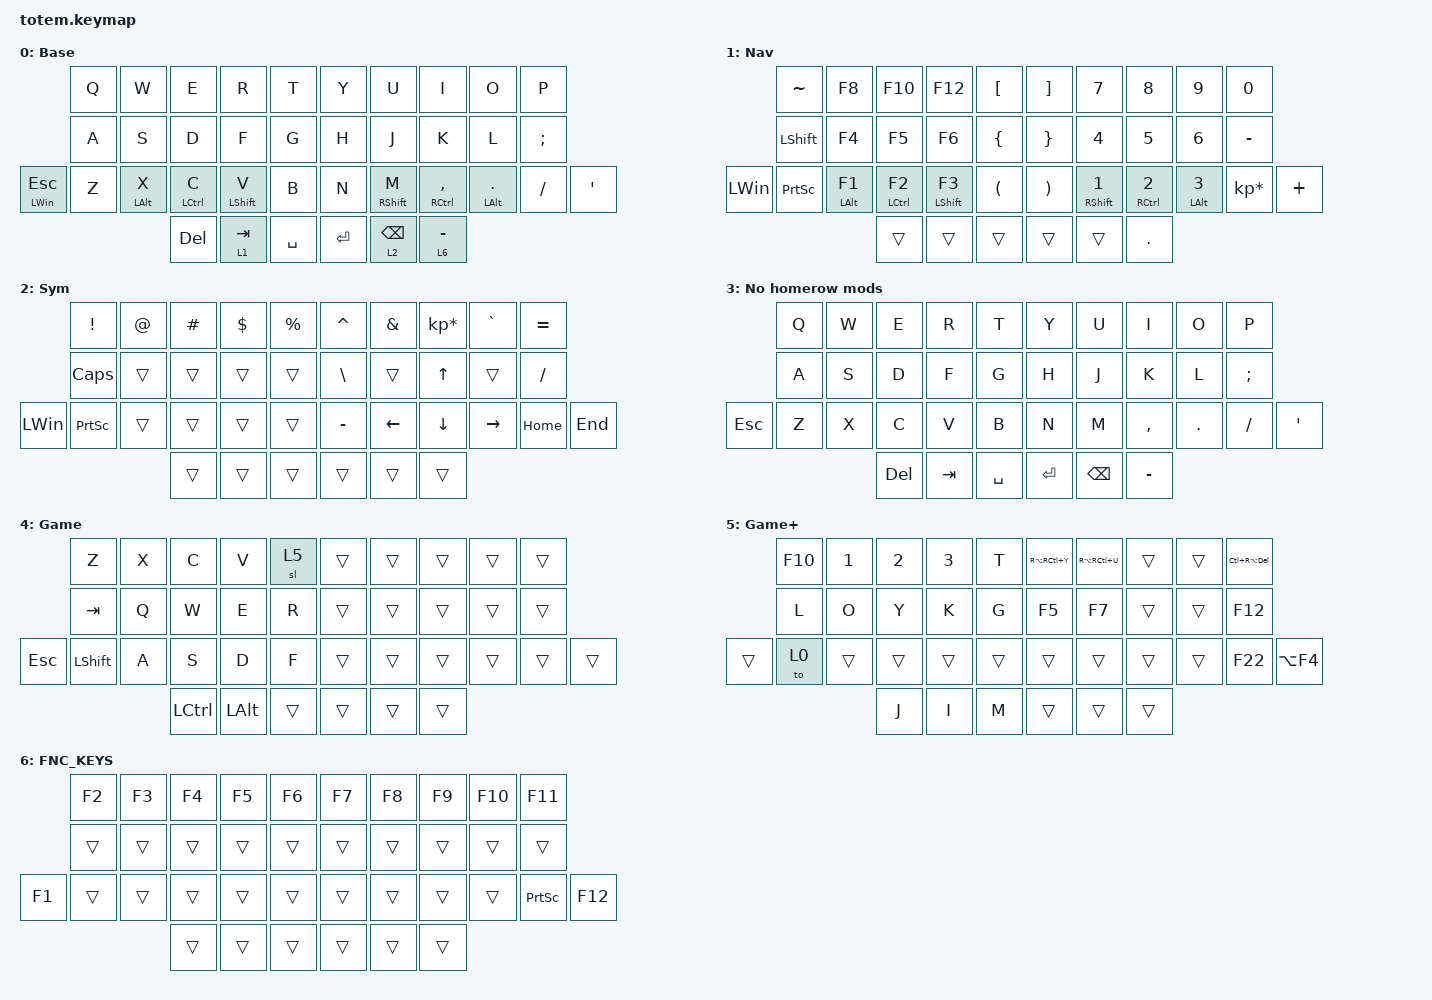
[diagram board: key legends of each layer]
//
//                                                        ▀▀▀▀▀     ▀▀▀▀▀          ▀▀█▀▀
//                                                        ▄▀▀▀▄  ▄  ▄▀▀▀▄  ▄  ▄▀▀▀▄  █  ▄▀▀▀▄
//                                                        █   █  █  █   █  █  █   █  █  █   █
//                                                         ▀▀▀   █   ▀▀▀   █   ▀▀▀   ▀   ▀▀▀
//                                                               █      ▄▄▄█▄▄▄    █   █  
//                                                               ▀      █  █  █     █▄█
//                                                             ▀▀▀▀▀    █  █  █      ▀
//                                                                      ▀  ▀  ▀
//
// ▄▄▄▄▄▄▄▄▄▄▄▄▄▄▄▄▄▄▄▄▄▄▄▄▄▄▄▄▄▄▄▄▄▄▄▄▄▄▄▄▄▄▄▄▄▄▄▄▄▄▄▄▄▄▄▄▄▄▄▄▄▄▄▄▄▄▄▄▄▄▄▄▄▄▄▄▄▄▄▄▄▄▄▄▄▄▄▄▄▄▄▄▄▄▄▄▄▄▄▄▄▄▄▄▄▄▄▄▄▄▄▄▄▄▄▄▄▄▄▄▄▄▄▄▄▄▄▄▄▄▄▄▄▄▄▄▄▄▄▄▄▄▄▄▄▄▄▄▄

#include <behaviors.dtsi>
#include <dt-bindings/zmk/keys.h>

#define Base        0
#define Nav         1
#define Sym         2
#define Fun         3
#define Game        4
#define Gameplus    5

&mt {
    quick-tap-ms = <100>;
    global-quick-tap;
    flavor = "tap-preferred";
    tapping-term-ms = <170>;
};

&lt {
    tapping-term-ms = <240>;
    flavor = "balanced";
    quick-tap-ms = <150>;
};

/ {
    behaviors {
        hm: homerow_mods {
            compatible = "zmk,behavior-hold-tap";
            label = "HOMEROW_MODS";
            #binding-cells = <2>;
            flavor = "tap-preferred";
            tapping-term-ms = <200>;
            quick-tap-ms = <125>;
            global-quick-tap;
            bindings = <&kp>, <&kp>;
        };
    };

    combos {
        compatible = "zmk,combos";

        no_hrm_toggle {
            bindings = <&to 3>;
            key-positions = <32 33 34>;
            layers = <0>;
        };

        base_toggle {
            bindings = <&to 0>;
            key-positions = <37 36 35>;
            layers = <3>;
        };
    };

    macros {
        mac_screenshot: screenshot {
            compatible = "zmk,behavior-macro";
            #binding-cells = <0>;
            bindings = <&kp LG(LS(LC(NUMBER_4)))>;
            label = "SCREENSHOT";
        };
    };

    keymap {
        compatible = "zmk,keymap";

        Base {
            display-name = "Base";
            bindings = <
                     &kp Q  &kp W       &kp E        &kp R        &kp T        &kp Y    &kp U        &kp I            &kp O             &kp P
                     &kp A  &kp S       &kp D        &kp F        &kp G        &kp H    &kp J        &kp K            &kp L             &kp SEMI
&hm LEFT_WIN ESCAPE  &kp Z  &hm LALT X  &hm LCTRL C  &hm LSHFT V  &kp B        &kp N    &hm RSHFT M  &hm RCTRL COMMA  &hm LEFT_ALT DOT  &kp SLASH  &kp APOSTROPHE
                                        &kp DEL      &lt 1 TAB    &kp SPACE    &kp RET  &lt 2 BSPC   &lt 6 MINUS
            >;
        };

        Nav {
            display-name = "Nav";
            bindings = <
              &kp TILDE        &kp F8           &kp F10              &kp F12            &kp LEFT_BRACKET    &kp RIGHT_BRACKET  &kp NUMBER_7              &kp NUMBER_8                &kp NUMBER_9           &kp NUMBER_0
              &kp LEFT_SHIFT   &kp F4           &kp F5               &kp F6             &kp LEFT_BRACE      &kp RIGHT_BRACE    &kp NUMBER_4              &kp NUMBER_5                &kp NUMBER_6           &kp MINUS
&kp LEFT_WIN  &kp PRINTSCREEN  &hm LEFT_ALT F1  &hm LEFT_CONTROL F2  &hm LEFT_SHIFT F3  &kp LPAR            &kp RPAR           &hm RIGHT_SHIFT NUMBER_1  &hm RIGHT_CONTROL NUMBER_2  &hm LEFT_ALT NUMBER_3  &kp KP_MULTIPLY  &kp PLUS
                                                &trans               &trans             &trans              &trans             &trans                    &kp DOT
            >;
        };

        Sym {
            display-name = "Sym";
            bindings = <
              &kp EXCL         &kp AT  &kp HASH  &kp DOLLAR  &kp PERCENT    &kp CARET      &kp AMPERSAND  &kp KP_ASTERISK  &kp GRAVE  &kp EQUAL
              &kp CAPS         &trans  &trans    &trans      &trans         &kp BACKSLASH  &trans         &kp UP_ARROW     &trans     &kp SLASH
&kp LEFT_WIN  &kp PRINTSCREEN  &trans  &trans    &trans      &trans         &kp MINUS      &kp LEFT       &kp DOWN_ARROW   &kp RIGHT  &kp HOME   &kp END
                                       &trans    &trans      &trans         &trans         &trans         &trans
            >;
        };

        no_hrm {
            display-name = "No homerow mods";
            bindings = <
         &kp Q  &kp W  &kp E    &kp R    &kp T        &kp Y      &kp U          &kp I      &kp O       &kp P
         &kp A  &kp S  &kp D    &kp F    &kp G        &kp H      &kp J          &kp K      &kp L       &kp SEMICOLON
&kp ESC  &kp Z  &kp X  &kp C    &kp V    &kp B        &kp N      &kp M          &kp COMMA  &kp PERIOD  &kp SLASH      &kp SQT
                       &kp DEL  &kp TAB  &kp SPACE    &kp ENTER  &kp BACKSPACE  &kp MINUS
            >;
        };

        Gaming {
            display-name = "Game";
            bindings = <
            &kp Z           &kp X  &kp C      &kp V         &sl 5     &trans  &trans  &trans  &trans  &trans
            &kp TAB         &kp Q  &kp W      &kp E         &kp R     &trans  &trans  &trans  &trans  &trans
&kp ESCAPE  &kp LEFT_SHIFT  &kp A  &kp S      &kp D         &kp F     &trans  &trans  &trans  &trans  &trans  &trans
                                   &kp LCTRL  &kp LEFT_ALT  &trans    &trans  &trans  &trans
            >;
        };

        Gaming+ {
            display-name = "Game+";
            bindings = <
        &kp F10  &kp NUMBER_1  &kp NUMBER_2  &kp NUMBER_3  &kp T     &kp RA(RC(Y))  &kp RA(RC(U))  &trans  &trans  &kp LC(RA(DEL))
        &kp L    &kp O         &kp Y         &kp K         &kp G     &kp F5         &kp F7         &trans  &trans  &kp F12
&trans  &to 0    &trans        &trans        &trans        &trans    &trans         &trans         &trans  &trans  &kp F22          &kp LA(F4)
                               &kp J         &kp I         &kp M     &trans         &trans         &trans
            >;
        };

        FNC_KEYS {
            bindings = <
        &kp F2  &kp F3  &kp F4  &kp F5  &kp F6    &kp F7  &kp F8  &kp F9  &kp F10  &kp F11
        &trans  &trans  &trans  &trans  &trans    &trans  &trans  &trans  &trans   &trans
&kp F1  &trans  &trans  &trans  &trans  &trans    &trans  &trans  &trans  &trans   &kp PRINTSCREEN  &kp F12
                        &trans  &trans  &trans    &trans  &trans  &trans
            >;
        };
    };
};
